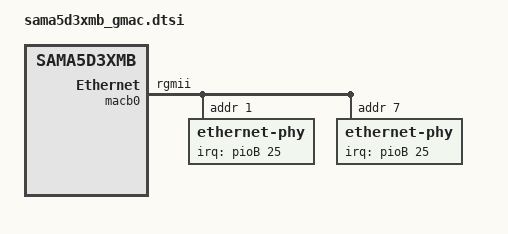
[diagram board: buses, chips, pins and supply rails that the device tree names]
// SPDX-License-Identifier: GPL-2.0-or-later
/*
 * sama5d3xmb_gmac.dtsi - Device Tree Include file for SAMA5D3x motherboard
 * Gigabit Ethernet
 *
 *  Copyright (C) 2016 Atmel,
 */

/ {
	ahb {
		apb {
			macb0: ethernet@f0028000 {
				phy-mode = "rgmii";
				#address-cells = <1>;
				#size-cells = <0>;

				ethernet-phy@1 {
					reg = <0x1>;
					interrupt-parent = <&pioB>;
					interrupts = <25 IRQ_TYPE_EDGE_FALLING>;
					txen-skew-ps = <800>;
					txc-skew-ps = <3000>;
					rxdv-skew-ps = <400>;
					rxc-skew-ps = <3000>;
					rxd0-skew-ps = <400>;
					rxd1-skew-ps = <400>;
					rxd2-skew-ps = <400>;
					rxd3-skew-ps = <400>;
				};

				ethernet-phy@7 {
					reg = <0x7>;
					interrupt-parent = <&pioB>;
					interrupts = <25 IRQ_TYPE_EDGE_FALLING>;
					txen-skew-ps = <800>;
					txc-skew-ps = <3000>;
					rxdv-skew-ps = <400>;
					rxc-skew-ps = <3000>;
					rxd0-skew-ps = <400>;
					rxd1-skew-ps = <400>;
					rxd2-skew-ps = <400>;
					rxd3-skew-ps = <400>;
				};
			};
		};
	};
};
